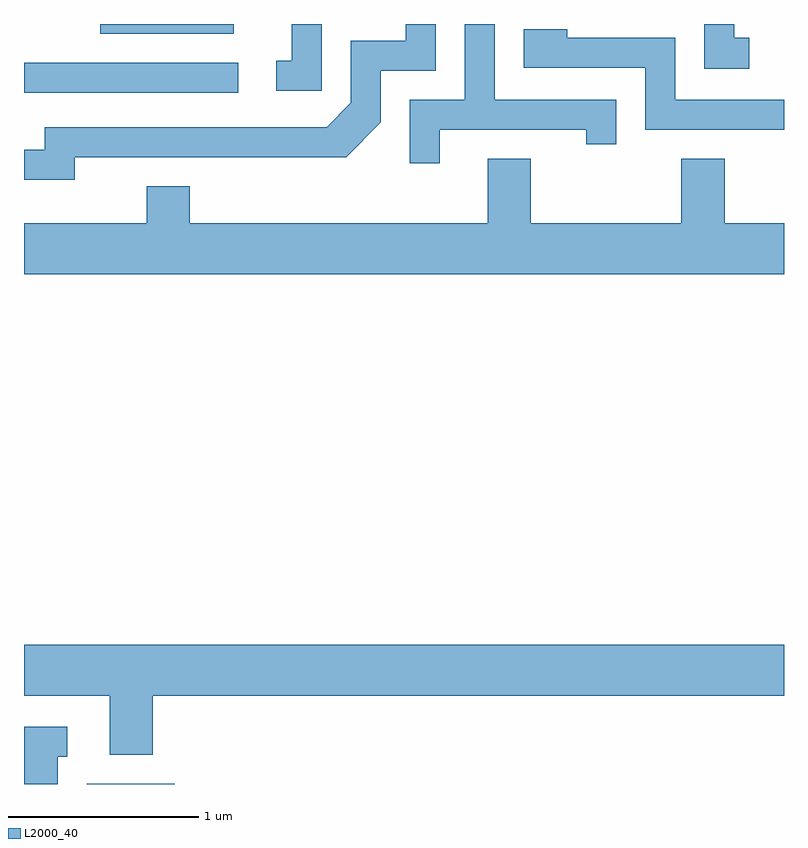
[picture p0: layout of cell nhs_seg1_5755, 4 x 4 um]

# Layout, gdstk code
import gdstk
lib = gdstk.Library(unit=1e-6, precision=1e-09)
def R(c, l, rs):  # rectangles x0, y0, x1, y1
    for r in rs: c.add(gdstk.rectangle(r[:2], r[2:], *l))
def P(c, l, *ps):  # polygons
    for p in ps: c.add(gdstk.Polygon(p, *l))
L2000_40 = (2000, 40)

nhs_seg1_5755 = lib.new_cell('nhs_seg1_5755')
R(nhs_seg1_5755, L2000_40, [(357.941,965.712,358.404,965.714), (357.611,969.351,358.738,969.509), (358.013,969.661,358.714,969.712)])
P(nhs_seg1_5755, L2000_40, [(359.179,969.712),(359.021,969.712),(359.021,969.519),(358.938,969.519),(358.938,969.361),(359.179,969.361)],
  [(357.879,969.011),(359.307,969.011),(359.489,969.194),(359.489,969.466),(359.779,969.466),(359.779,969.712),(359.621,969.712),(359.621,969.624),(359.331,969.624),(359.331,969.297),(359.204,969.169),(357.721,969.169),(357.721,969.049),(357.611,969.049),(357.611,968.891),(357.879,968.891)],
  [(359.799,969.156),(360.571,969.156),(360.571,969.078),(360.729,969.078),(360.729,969.314),(360.089,969.314),(360.089,969.712),(359.931,969.712),(359.931,969.314),(359.641,969.314),(359.641,968.978),(359.799,968.978)],
  [(361.428,969.639),(361.349,969.639),(361.349,969.712),(361.191,969.712),(361.191,969.476),(361.428,969.476)],
  [(361.611,969.314),(361.039,969.314),(361.039,969.639),(360.469,969.639),(360.469,969.684),(360.241,969.684),(360.241,969.481),(360.881,969.481),(360.881,969.156),(361.611,969.156)],
  [(361.611,968.664),(361.299,968.664),(361.299,969.004),(361.071,969.004),(361.071,968.664),(360.279,968.664),(360.279,969.004),(360.051,969.004),(360.051,968.664),(358.484,968.664),(358.484,968.859),(358.256,968.859),(358.256,968.664),(357.611,968.664),(357.611,968.396),(361.611,968.396)],
  [(358.289,966.176),(361.611,966.176),(361.611,966.444),(357.611,966.444),(357.611,966.176),(358.061,966.176),(358.061,965.866),(358.289,965.866)],
  [(357.789,965.856),(357.838,965.856),(357.838,966.014),(357.611,966.014),(357.611,965.712),(357.789,965.712)])

lib.write_gds('nhs_seg1_5755.gds')
